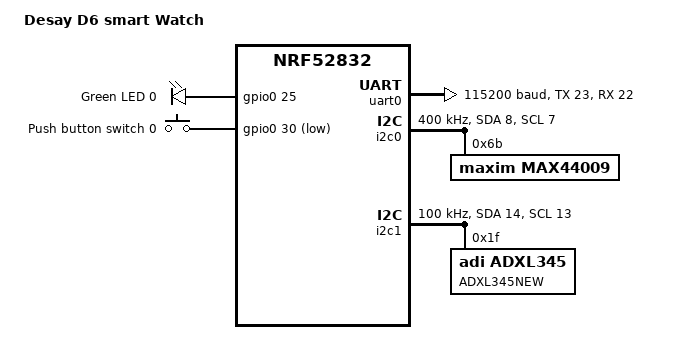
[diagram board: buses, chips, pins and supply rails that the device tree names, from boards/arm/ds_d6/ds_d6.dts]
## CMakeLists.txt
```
# SPDX-License-Identifier: Apache-2.0
#list(APPEND ZEPHYR_EXTRA_MODULES /root/zephyrproject/app/drivers/kscan2)
cmake_minimum_required(VERSION 3.13.1)
list(APPEND ZEPHYR_EXTRA_MODULES
  ${CMAKE_CURRENT_SOURCE_DIR}/drivers
  )


# Add the board
set(BOARD_ROOT ${CMAKE_CURRENT_LIST_DIR})
#list(APPEND BOARD_ROOT ${CMAKE_CURRENT_LIST_DIR})
#list(APPEND DTS_ROOT ${CMAKE_CURRENT_LIST_DIR}/..)
#add_subdirectory(drivers/kscan2)
# Enable configurations through environment variables
#set(CONF_FILE ${CMAKE_CURRENT_LIST_DIR}/config/prj.conf ${CMAKE_CURRENT_LIST_DIR}/config/bootloader.conf)
#IF("$ENV{BOOTLOADER}" STREQUAL "off")
#  set(CONF_FILE ${CMAKE_CURRENT_LIST_DIR}/config/prj.conf)
#ENDIF()
#IF("$ENV{LOGGING}" STREQUAL "on")
#  set(CONF_FILE ${CONF_FILE} ${CMAKE_CURRENT_LIST_DIR}/config/logging_rtt.conf)
#ENDIF()

find_package(Zephyr REQUIRED HINTS $ENV{ZEPHYR_BASE})
include_directories(include)
project(oswatch)

FILE(GLOB app_sources src/*.c)
target_sources(app PRIVATE ${app_sources})

# Get current time
string(TIMESTAMP CURRENT_TIME %Y-%m-%dT%H:%M:%S)

# Get short commit hash
execute_process(
  COMMAND ${GIT_EXECUTABLE} describe --tags
  WORKING_DIRECTORY ${CMAKE_CURRENT_LIST_DIR}
  OUTPUT_VARIABLE FW_BUILD_GIT
  OUTPUT_STRIP_TRAILING_WHITESPACE
)
set(CMAKE_C_FLAGS "${CMAKE_C_FLAGS} -DCURRENT_TIME_OF_BUILD=\"${CURRENT_TIME}\" -DFW_BUILD=\"${FW_BUILD_GIT}\"")
set(ZEPHYR_BOARD_FLASH_RUNNER jlink)
```

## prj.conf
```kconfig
CONFIG_HEAP_MEM_POOL_SIZE=16384
CONFIG_MAIN_STACK_SIZE=2048

#CONFIG_DISPLAY=y
#CONFIG_DISPLAY_LOG_LEVEL_ERR=y
#CONFIG_KSCAN=y
CONFIG_LOG=y
#CONFIG_LVGL=y
#CONFIG_LVGL_USE_LABEL=y
#CONFIG_LVGL_USE_CONT=y
#CONFIG_LVGL_USE_BTN=y
#CONFIG_LVGL_USE_SLIDER=y
#CONFIG_LVGL_USE_IMG=y
#CONFIG_LVGL_USE_THEME_MATERIAL=n
#CONFIG_ST7789V=y
#CONFIG_LVGL_TXT_ENC_UTF8=y
#CONFIG_LVGL_FONT_MONTSERRAT_14=y
#CONFIG_LVGL_FONT_UNSCII_8=n
#CONFIG_LVGL_VDB_SIZE=64 
#CONFIG_LVGL_VDB_SIZE=2 
#CONFIG_USE_SEGGER_RTT=y
#CONFIG_LVGL_USE_THEME_MONO=y
#CONFIG_LVGL_THEME_DEFAULT_COLOR_PRIMARY_WHITE=y
#CONFIG_LVGL_THEME_DEFAULT_COLOR_SECONDARY_BLACK=y
# Time functions
CONFIG_NEWLIB_LIBC=y
#CONFIG_LVGL_POINTER_KSCAN=y
```

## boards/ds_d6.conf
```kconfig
CONFIG_HEAP_MEM_POOL_SIZE=16384
CONFIG_MAIN_STACK_SIZE=2048

#CONFIG_LVGL_FONT_MONTSERRAT_28=n
#CONFIG_LVGL_FONT_MONTSERRAT_14=y
#CONFIG_LVGL_DISPLAY_DEV_NAME="SSD1306"

#CONFIG_LVGL_USE_LABEL=y
#CONFIG_LVGL_USE_CONT=y
#CONFIG_LVGL_USE_THEME_MATERIAL=n
#CONFIG_LVGL_TXT_ENC_UTF8=y
#CONFIG_LVGL_FONT_UNSCII_8=n
#CONFIG_LVGL_VDB_SIZE=64
#CONFIG_LVGL_VDB_SIZE=2
#CONFIG_USE_SEGGER_RTT=y
#CONFIG_LVGL_USE_THEME_MONO=y
#CONFIG_LVGL_THEME_DEFAULT_COLOR_PRIMARY_WHITE=y
#CONFIG_LVGL_THEME_DEFAULT_COLOR_SECONDARY_BLACK=y
# Time functions
CONFIG_NEWLIB_LIBC=y
#CONFIG_LVGL_POINTER_KSCAN=y
CONFIG_SENSOR=y
CONFIG_I2C=y
CONFIG_ADXL345NEW=y
```

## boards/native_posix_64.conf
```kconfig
CONFIG_SDL_DISPLAY_DEV_NAME="DISPLAY"
CONFIG_SDL_DISPLAY_X_RES=300
CONFIG_SDL_DISPLAY_Y_RES=100
CONFIG_KSCAN=y
CONFIG_LVGL_POINTER_KSCAN=y
CONFIG_LVGL_POINTER_KSCAN_DEV_NAME="KSCAN"
CONFIG_SDL_POINTER_KSCAN_DEV_NAME="KSCAN"
#CONFIG_CONSOLE=y
#CONFIG_UART_CONSOLE=y
#CONFIG_UART_CONSOLE_ON_DEV_NAME="UART_0"
#CONFIG_UART_NATIVE_POSIX_PORT_1_ENABLE=y
#CONFIG_UART_NATIVE_POSIX_PORT_1_NAME="UART_1"
#CONFIG_SHELL=y
#CONFIG_UART_SHELL_ON_DEV_NAME="UART_0"
CONFIG_LVGL_FONT_MONTSERRAT_28=y
CONFIG_LVGL_FONT_MONTSERRAT_14=n

CONFIG_LVGL_USE_LABEL=y
CONFIG_LVGL_USE_CONT=y
CONFIG_LVGL_USE_BTN=y
CONFIG_LVGL_USE_THEME_MATERIAL=n
CONFIG_LVGL_TXT_ENC_UTF8=y
CONFIG_LVGL_FONT_UNSCII_8=n
CONFIG_LVGL_VDB_SIZE=64
CONFIG_USE_SEGGER_RTT=y
CONFIG_LVGL_USE_THEME_MONO=y
CONFIG_LVGL_THEME_DEFAULT_COLOR_PRIMARY_WHITE=y
CONFIG_LVGL_THEME_DEFAULT_COLOR_SECONDARY_BLACK=y
# Time functions
#CONFIG_NEWLIB_LIBC=y
CONFIG_LVGL_POINTER_KSCAN=y
```

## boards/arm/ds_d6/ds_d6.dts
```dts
/*
* Copyright (c) 2019 Nordic Semiconductor ASA
*
* SPDX-License-Identifier: LicenseRef-BSD-5-Clause-Nordic
*/

/dts-v1/;
#include <nordic/nrf52832_qfaa.dtsi>

/ {
model = "Desay D6 smart Watch";
compatible = "ds-d6";

chosen {
	zephyr,console = &uart0;
	zephyr,shell-uart = &uart0;
	zephyr,uart-mcumgr = &uart0;
	zephyr,bt-mon-uart = &uart0;
	zephyr,bt-c2h-uart = &uart0;

	zephyr,sram = &sram0;
	zephyr,flash = &flash0;
	zephyr,code-partition = &slot0_partition;
};
leds    {
	compatible = "gpio-leds";
                led0_green: led_0 {
/*pin 25 is the motor*/
                       gpios = <&gpio0 25 GPIO_ACTIVE_HIGH>; //this is heart rate sensor led
                       label = "Green LED 0";
	//	       default-state = "on";
                };

        };


	buttons {
		compatible = "gpio-keys";
		button0: button_0 {
			gpios = <&gpio0 30 (GPIO_PULL_UP | GPIO_ACTIVE_LOW)>;
			label = "Push button switch 0";
		};
	};

       //heart rate sensor needs power, used this to pretend starting up a power rail 
/*        vdd_pwr: vdd-pwr-ctrl {
		compatible = "regulator-fixed";
                label = "vdd-pwr-ctrl";
                regulator-name = "vdd-pwr-ctrl";
                enable-gpios = <&gpio0 26 GPIO_ACTIVE_HIGH>;
                regulator-boot-on;
        };

*/
	aliases {
		sw0 = &button0;
		led0 = &led0_green;
/*		led2 = &led2_blue;
		led0-green = &led0_green;
		led1-red   = &led1_red;
		led2-blue  = &led2_blue;*/
	};

};

&gpiote {
	status = "okay";
};

&gpio0 {
	status = "okay";
};
&uart0 {
	status = "okay";
	compatible = "nordic,nrf-uart";
	current-speed = <115200>;
	tx-pin = <23>;
	rx-pin = <22>;
};

&i2c0 {
	compatible = "nordic,nrf-twi";
	status = "okay";
	sda-pin = <8>;
	scl-pin = <7>;
	clock-frequency = <I2C_BITRATE_FAST>;
//	clock-frequency = <400000>;
	max44009@6b {
		//power-gpios = <&gpio0 26 1>;
		compatible = "maxim,max44009";
		reg=<0x6b>;
		label="MAX44009";
        //        vin-supply = <&vdd_pwr>; //heart rate controller needs power first
	};
};


&i2c1 {
	compatible = "nordic,nrf-twi";
	status = "okay";
	sda-pin = <14>;
	scl-pin = <13>;
	clock-frequency = <100000>;
	adxl345new@1f {
		compatible = "adi,adxl345";
		reg=<0x1f>;
		label="ADXL345NEW";
	};
};




&flash0 {
	/*
	 * For more information, see:
	 * http://docs.zephyrproject.org/latest/guides/dts/index.html#flash-partitions
	 */
	partitions {
		compatible = "fixed-partitions";
		#address-cells = <1>;
		#size-cells = <1>;

		boot_partition: partition@0 {
			label = "mcuboot";
			reg = <0x00000000 0x0000C000>;
		};
		slot0_partition: partition@c000 {
			label = "image-0";
			reg = <0x0000C000 0x00032000>;
		};
		slot1_partition: partition@3e000 {
			label = "image-1";
			reg = <0x0003e000 0x00032000>;
		};
		scratch_partition: partition@70000 {
			label = "image-scratch";
			reg = <0x00070000 0x0000a000>;
		};
		storage_partition: partition@7a000 {
			label = "storage";
			reg = <0x0007a000 0x00006000>;
		};
	};
};

/*
&spi2 {
        compatible = "nordic,nrf-spi";
        status = "okay";
        sck-pin = <5>;
        mosi-pin = <6>;
        miso-pin = <0xFF>;
       // cs-gpios = <&gpio0 29 (GPIO_ACTIVE_LOW)>;
        cs-gpios = <&gpio0 29 (GPIO_ACTIVE_LOW)>;
        ssd1306new@0 {
                compatible = "solomon,ssd1306fb";
        	spi-max-frequency = <80000000>; 
                label = "SSD1306NEW";
                reg = <0>;
		segment-offset = <0>;
		page-offset = <0>;
		display-offset = <0>; 
		multiplex-ratio = <31>;
		height = <32>;
		width = <128>;
		segment-remap;
//		com-invdir;
//alternative 0x12		com-sequential;
		prechargep = <0xF1>;
		reset-gpios = <&gpio0 4 0>;
                data_cmd-gpios = <&gpio0 28 0>;
        };
};
*/
```

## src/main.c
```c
/*

 * Copyright (c) 2021 <najnesnaj@yahoo.com>
 *
 * SPDX-License-Identifier: Apache-2.0
 */

#include <device.h>
#include <drivers/display.h>
#include <drivers/gpio.h>
//#include <lvgl.h>
#include <stdio.h>
#include <string.h>
#include <zephyr.h>
#include "clock.h"
#include "log.h"
//#include "display.h"
#include "event_handler.h"
#include "bt.h"
//#include "param_sync.h"


#include <drivers/sensor.h>
void main(void)
{
	LOG_INF(" Hello there!\n");
//	display_init();
	clock_init();
	event_handler_init();
	//bt_init(); //cts time update
	//param_sync_init();
	static unsigned int count;
	struct sensor_value accel[3];
	const char *overrun = "";
float hoek;
	const struct device *sensor = DEVICE_DT_GET_ANY(adi_adxl345new);

	if (sensor == NULL) {
		LOG_INF("No device found\n");
		return;
	}
	if (!device_is_ready(sensor)) {
		LOG_INF("Device %s is not ready\n", sensor->name);
		return;
	}

	LOG_INF("yippi! device ready !\n");
	while (1) { 

		int rc = sensor_sample_fetch(sensor);
		//LOG_INF(" value sensor rc %d\n", rc);
		//     ++count;
		if (rc == 0) {
			rc = sensor_channel_get(sensor,
					SENSOR_CHAN_ACCEL_XYZ,
					accel);
		}
		if (rc < 0) {
			LOG_INF("ERROR: Update failed: %d\n", rc);
		} else {
			hoek=1; //to avoid unintialised
			if (accel[2].val1 != 0) 
				hoek=accel[1].val1/accel[2].val1;
			else LOG_INF("problem exception accel2\n");
			/*                LOG_INF("#%u @ %u ms: %sx %f , y %f , z %f\n",
					  count, k_uptime_get_32(), overrun,
					  sensor_value_to_double(&accel[0]),
					  sensor_value_to_double(&accel[1]),
					  sensor_value_to_double(&accel[2]));*/
//			LOG_INF(" value 1 %d\n", accel[0].val1);
			LOG_INF(" value 2 %d\n", accel[1].val1);
			LOG_INF(" value 3 %d\n", accel[2].val1);
			//LOG_INF(" value 2 %d\n", accel[0].val2);
			printf("hoek   %lf     \n", (hoek));
		}

		k_sleep(K_MSEC(2000));


	}
}
```

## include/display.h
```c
/*
 *   display.h
 */
#ifndef __DISPLAY_H
#define __DISPLAY_H
#include "buttons.h"
/*---------------------------------------------------------------------------*/
/*                                                                           */
/*---------------------------------------------------------------------------*/
int  display_init(void);
void display_time_set_label(char *str);
void display_date_set_label(char *str);
void display_btn_event(buttons_id_t btn_id);
void display_sleep();
void display_clock_update();
//void backlight_switch(bool)
#endif  /* __DISPLAY_H */
```

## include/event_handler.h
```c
/*
 * Copyright (c) 2021 Jan Jansen 
 *
 * SPDX-License-Identifier: Apache-2.0
 */

#ifndef EVENT_HANDLER__H
#define EVENT_HANDLER__H

#include <drivers/gpio.h>
#include <drivers/sensor.h>
//#include <lvgl.h>

void event_handler_init(void);
void display_off_isr(struct k_timer *);
#ifdef CONFIG_BOOTLOADER_MCUBOOT
void watchdog_refresh_isr(struct k_timer *);
#endif
void battery_percentage_isr(struct k_timer *);
void battery_charging_isr(const struct device*, struct gpio_callback *, uint32_t);
void button_pressed_isr(const struct device *, struct gpio_callback *, uint32_t);
int handle_button_event(void);
void handle_clock_update(struct k_timer *); //jj struct k_timer *clock_update
//void button_event_cb(lv_obj_t * , lv_event_t );
//void button_event_cb(void);

//#if defined(CONFIG_BOARD_DS_D6)  //this watch has a button on the front (touch sensitive)
void init_button(void);
//#endif
#endif /* EVENT_HANDLER */
```

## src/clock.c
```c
/*
 * Copyright (c) 2021 najnesnaj@yahoo.com
 *
 * SPDX-License-Identifier: Apache-2.0
 */

#include <zephyr.h>
#include <time.h>
#include <stdio.h>
#include <stdlib.h>
#include <zephyr/types.h>
#include "battery.h"
#include "bt.h"
#include "version.h"
#include "cts_sync.h"
#include "log.h"
#include "event_handler.h"
//#include "display.h"

/* ********** ********** VARIABLES ********** ********** */
static char time_label_str[32];
static char date_label_str[32];
typedef unsigned long long  u64_t;

static u64_t uptime_ms;
static u64_t last_uptime_ms;
static u64_t elapsed_ms;

static struct tm ti = {
	.tm_sec = 0,
	.tm_min = 0,
	.tm_hour = 0,
	.tm_mday = 0,
	.tm_mon = 0,
	.tm_year = 0,
	.tm_wday = 0,
};

/* ********** ********** FUNCTIONS *********** ********** */
void clock_str_to_local_time(const char *str)
{
	if (sscanf(str, "%d-%d-%dT%d:%d:%d", &ti.tm_year, &ti.tm_mon,
		   &ti.tm_mday, &ti.tm_hour, &ti.tm_min, &ti.tm_sec) != 6) {
		LOG_ERR("Failed to parse time of build.");
	}
	ti.tm_year-=1900;
	ti.tm_mon-=1;
	mktime(&ti);
}

void clock_init()
{
	/* Set time to time of build */
	clock_str_to_local_time(TIME_OF_BUILD);
	LOG_DBG("Time set to time of build");
	LOG_DBG("Clock init: Done");
}

void clock_update_elapsed_ms()
{
	uptime_ms = k_uptime_get();
	elapsed_ms = uptime_ms - last_uptime_ms;
	last_uptime_ms = uptime_ms;
	LOG_INF("Clock updated: "); //jj
}

/* Called by cts sync */
void clock_sync_time(cts_datetime_t *cts)
{
	ti.tm_year = cts->year -1900;
	ti.tm_mon = cts->month -1;
	ti.tm_mday = cts->day;
	ti.tm_hour = cts->hours;
	ti.tm_min = cts->minutes;
	ti.tm_sec = cts->seconds;
	mktime(&ti);
	clock_update_elapsed_ms();
}

/* Called by event handler */
void clock_increment_local_time()
{
	clock_update_elapsed_ms();
	ti.tm_sec += elapsed_ms / 1000;
	mktime(&ti);
}

void clock_show_time()
{
	strftime(time_label_str, 32, "%H:%M", &ti);
	strftime(date_label_str, 32, "%a %d %b", &ti);
	//display_time_set_label(time_label_str);
	//display_date_set_label(date_label_str);
}
```

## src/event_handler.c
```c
/*
 * Copyright (c) 2021 najnesnaj@yahoo.com
 *
 * SPDX-License-Identifier: Apache-2.0
 */

#include <zephyr.h>
#include <drivers/gpio.h>
#include <drivers/sensor.h>
#include <stdbool.h>
#include "battery.h"
#include "bt.h"
#include "clock.h"
//#include "display.h"
#include "event_handler.h"
#include "log.h"
#include "buttons.h"

/* ********** defines ********** */
#define BAT_CHA 2 //jj
#define BTN_PORT DT_GPIO_LABEL(DT_ALIAS(sw0), gpios)
#define BTN_IN  DT_GPIO_PIN(DT_ALIAS(sw0), gpios)
#define BTN_OUT 3 //jj 
#define EDGE    (GPIO_INT_EDGE | GPIO_INT_DOUBLE_EDGE)
#define PULL_UP DT_GPIO_FLAGS(DT_ALIAS(sw0), gpios)
#define DISPLAY_TIMEOUT K_SECONDS(500) //jj suppose you leave display on -- time should be updated
#define CLOCK_UPDATE K_SECONDS(20) //jj every minute clock should get update 
/* ********** ******* ********** */

/* ********** variables ********** */
static struct k_timer clock_update_timer; //jj

/* ********** ******* ********** */
/* setup buttons **** ********** */
/* ********** ******* ********** */

//when used with the native_posix_64 virtual device there are no buttons ...
//#if !(defined(CONFIG_BOARD_NATIVE_POSIX_64BIT))

#define SW0_NODE        DT_ALIAS(sw0)

#if DT_NODE_HAS_STATUS(SW0_NODE, okay)
#define SW0_GPIO_LABEL  DT_GPIO_LABEL(SW0_NODE, gpios)
#define SW0_GPIO_PIN    DT_GPIO_PIN(SW0_NODE, gpios)
#define SW0_GPIO_FLAGS  (GPIO_INPUT | DT_GPIO_FLAGS(SW0_NODE, gpios))
#else
//#error "Unsupported board: sw0 devicetree alias is not defined"
#define SW0_GPIO_LABEL  ""
#define SW0_GPIO_PIN    0
#define SW0_GPIO_FLAGS  0
#endif

#if defined(CONFIG_BOARD_PINETIME_DEVKIT1) //pinetime needs port 15 high for switch to work
#define SW1_NODE        DT_ALIAS(sw1)
#define SW1_GPIO_PIN    DT_GPIO_PIN(SW1_NODE, gpios)
#define SW1_GPIO_FLAGS  (GPIO_OUTPUT | DT_GPIO_FLAGS(SW1_NODE, gpios))
#define BUTTON_THRESH 4 //threshold to distinguish between short and long press
#define BUTTON_DOUBLE_THRESH 2 //double click
#endif

#if defined(CONFIG_BOARD_NATIVE_POSIX_64BIT)
#define BUTTON_THRESH 6 //threshold to distinguish between short and long press
//when used in a real watch it will probable have to be less
#define BUTTON_DOUBLE_THRESH 12 //double click
#endif

#if defined(CONFIG_BOARD_DS_D6)
#define BUTTON_THRESH 3 //threshold to distinguish between short and long press
#define BUTTON_DOUBLE_THRESH 2 //double click
#endif



static uint8_t button_press_cnt;
//struct k_timer button_timer;




//when the timer expires the number of presses is analysed
void button_timer_handler(struct k_timer *dummy)
{
	LOG_INF("timer expired\n");
	LOG_INF("press count %d\n", button_press_cnt);
	if (button_press_cnt >= BUTTON_DOUBLE_THRESH){
		LOG_INF("long press\n");
		//display_btn_event(BTN1_LONG);
	}
	if (button_press_cnt <= BUTTON_THRESH){ //short press is used to scroll trough the labels with their value
		LOG_INF("short press\n");
		//display_btn_event(BTN1_SHORT);
		//  show_label(label_select_cnt);
		//  label_select_cnt++;
		// if (label_select_cnt ==  PARAM_TOTAL) label_select_cnt=0;
	}
	if ((button_press_cnt > BUTTON_THRESH) && (button_press_cnt < BUTTON_DOUBLE_THRESH)){
		LOG_INF("double click\n");
	}
	button_press_cnt=0;


}

/*timer used to detect lenght of pushing*/
struct k_timer button_timer;
K_TIMER_DEFINE(button_timer, button_timer_handler,NULL);





void button_pressed(const struct device *dev, struct gpio_callback *cb,
		uint32_t pins)
{
	buttons_id_t btn_id;

	LOG_INF("Button pressed at %" PRIu32 "\n", k_cycle_get_32());

	if (button_press_cnt == 0U) {
		k_timer_start(&button_timer, K_SECONDS(1), K_NO_WAIT);
		btn_id=BTN1_SHORT;
	}

	if (k_timer_status_get(&button_timer) > 0) {
		/* timer has expired */
		//display_btn_event(BTN1_SHORT);
		button_press_cnt=0;
	} else  {
		/* timer still running */
		button_press_cnt++;
	}



}

//this is used in case of native_posix -- virtual button
//static void button_event_cb(lv_obj_t * obj, lv_event_t event)
//void button_event_cb(lv_obj_t * obj, lv_event_t event)
static void button_event_cb(void)
{

        LOG_INF("Button pressed at %" PRIu32 "\n", k_cycle_get_32());
        if (button_press_cnt == 0U) {
                k_timer_start(&button_timer, K_SECONDS(1), K_NO_WAIT);
                printf("Buttontime started" );
        }

        if (k_timer_status_get(&button_timer) > 0) {
                button_press_cnt=0;
        } else  {
                /* timer still running */
                button_press_cnt++;
        }

}


static struct gpio_callback button_cb_data;

void init_button(void)
{
	const struct device *button;
	int ret;
	button = device_get_binding(SW0_GPIO_LABEL);
	if (button == NULL) {
		printk("Error: didn't find %s device\n", SW0_GPIO_LABEL);
		return;
	}

	ret = gpio_pin_configure(button, SW0_GPIO_PIN, SW0_GPIO_FLAGS);
	if (ret != 0) {
		printk("Error %d: failed to configure %s pin %d\n",
				ret, SW0_GPIO_LABEL, SW0_GPIO_PIN);
		return;
	}

	ret = gpio_pin_interrupt_configure(button,
			SW0_GPIO_PIN,
			GPIO_INT_EDGE_TO_ACTIVE);
	if (ret != 0) {
		printk("Error %d: failed to configure interrupt on %s pin %d\n",
				ret, SW0_GPIO_LABEL, SW0_GPIO_PIN);
		return;
	}
#if defined(CONFIG_BOARD_PINETIME_DEVKIT1)
	//port 15 has to be high in order for the button to work


	gpio_pin_configure(button, SW1_GPIO_PIN,SW1_GPIO_FLAGS); //push button out
	gpio_pin_set(button, SW1_GPIO_PIN, 1); //set port high



#endif



	gpio_init_callback(&button_cb_data, button_pressed, BIT(SW0_GPIO_PIN));
	gpio_add_callback(button, &button_cb_data);
	printk("Set up button at %s pin %d\n", SW0_GPIO_LABEL, SW0_GPIO_PIN);



}
//#endif

//static struct gpio_callback button_cb;

/* ********** ********* ********** */


/* ********** init function ********** */
void event_handler_init()
{

	/* Start timers */
	k_timer_init(&clock_update_timer, handle_clock_update, NULL); //jj
	k_timer_start(&clock_update_timer,CLOCK_UPDATE, K_NO_WAIT); //jj

//	clock_show_time();

	LOG_DBG("Event handler init: Done");
}
/* ********** ************ ********** */

/* ********** interrupt handlers ********** */


void button_pressed_isr(const struct device *gpiobtn, struct gpio_callback *cb, uint32_t pins)
{
	//backlight_switch(true);

	handle_button_event();
}

void handle_clock_update(struct k_timer *clock_update) //jj if clock displayed, it should get the updated time
{
	printk("handle_clock_update\n");
	clock_increment_local_time();
//	clock_show_time();
	//display_clock_update(); //multiple screens but clock only appears in 1st
	k_timer_start(clock_update,CLOCK_UPDATE, K_NO_WAIT); //timer gets started again -- perpetuum mobile
}


/* ********** ************** ********** */
int handle_button_event(void)
{
	clock_increment_local_time();
//	clock_show_time();
	return 1;
}
```
